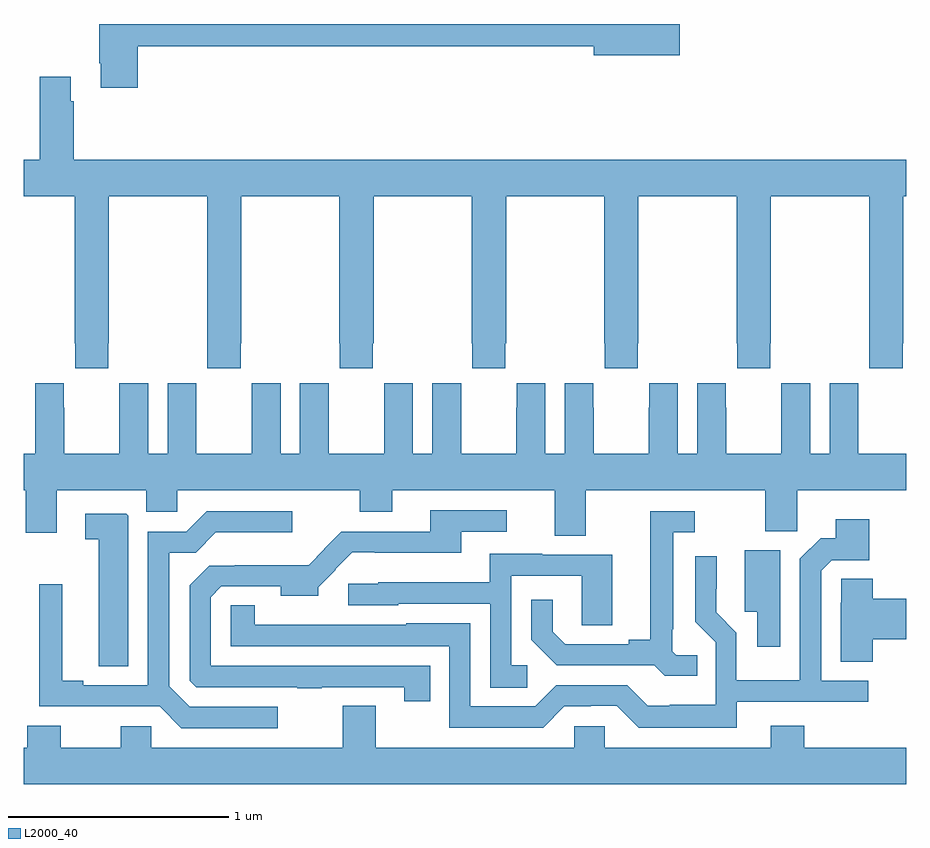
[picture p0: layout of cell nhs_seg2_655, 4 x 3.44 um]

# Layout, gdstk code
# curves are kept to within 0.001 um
import gdstk
lib = gdstk.Library(unit=1e-6, precision=1e-09)
def P(c, l, *ps):  # polygons
    for p in ps: c.add(gdstk.Polygon(p, *l))
L2000_40 = (2000, 40)

nhs_seg2_655 = lib.new_cell('nhs_seg2_655')
P(nhs_seg2_655, L2000_40, [(145.517,597.7),(147.584,597.7),(147.584,597.658),(147.973,597.658),(147.973,597.8),(145.342,597.8),(145.342,597.622),(145.349,597.622),(145.349,597.51),(145.517,597.51)],
  [(145.383,596.353),(145.386,596.353),(145.386,597.02),(145.831,597.02),(145.831,596.353),(145.833,596.353),(145.833,596.241),(145.983,596.241),(145.983,596.353),(145.986,596.353),(145.986,597.02),(146.431,597.02),(146.431,596.353),(146.433,596.353),(146.433,596.241),(146.583,596.241),(146.583,596.353),(146.586,596.353),(146.586,597.02),(147.031,597.02),(147.031,596.353),(147.033,596.353),(147.033,596.241),(147.183,596.241),(147.183,596.353),(147.186,596.353),(147.186,597.02),(147.631,597.02),(147.631,596.353),(147.633,596.353),(147.633,596.241),(147.783,596.241),(147.783,596.353),(147.786,596.353),(147.786,597.02),(148.231,597.02),(148.231,596.353),(148.233,596.353),(148.233,596.241),(148.383,596.241),(148.383,596.353),(148.386,596.353),(148.386,597.02),(148.831,597.02),(148.831,596.353),(148.833,596.353),(148.833,596.241),(148.983,596.241),(148.983,596.353),(148.986,596.353),(148.986,597.02),(149,597.02),(149,597.184),(145.226,597.184),(145.226,597.449),(145.213,597.449),(145.213,597.562),(145.073,597.562),(145.073,597.184),(145,597.184),(145,597.02),(145.231,597.02),(145.231,596.353),(145.233,596.353),(145.233,596.241),(145.383,596.241)],
  [(147.547,595.688),(148.36,595.688),(148.36,595.501),(148.506,595.501),(148.506,595.688),(149,595.688),(149,595.852),(148.783,595.852),(148.783,596.06),(148.782,596.06),(148.782,596.173),(148.652,596.173),(148.652,595.852),(148.564,595.852),(148.564,596.173),(148.434,596.173),(148.434,596.06),(148.433,596.06),(148.433,595.852),(148.183,595.852),(148.183,596.06),(148.182,596.06),(148.182,596.173),(148.052,596.173),(148.052,595.852),(147.964,595.852),(147.964,596.173),(147.834,596.173),(147.834,596.06),(147.833,596.06),(147.833,595.852),(147.583,595.852),(147.583,596.06),(147.582,596.06),(147.582,596.173),(147.452,596.173),(147.452,595.852),(147.364,595.852),(147.364,596.173),(147.234,596.173),(147.234,596.06),(147.233,596.06),(147.233,595.852),(146.983,595.852),(146.983,596.06),(146.982,596.06),(146.982,596.173),(146.852,596.173),(146.852,595.852),(146.764,595.852),(146.764,596.173),(146.634,596.173),(146.634,596.06),(146.633,596.06),(146.633,595.852),(146.383,595.852),(146.383,596.06),(146.382,596.06),(146.382,596.173),(146.252,596.173),(146.252,595.852),(146.164,595.852),(146.164,596.173),(146.034,596.173),(146.034,596.06),(146.033,596.06),(146.033,595.852),(145.783,595.852),(145.783,596.06),(145.782,596.06),(145.782,596.173),(145.652,596.173),(145.652,595.852),(145.564,595.852),(145.564,596.173),(145.434,596.173),(145.434,596.06),(145.433,596.06),(145.433,595.852),(145.183,595.852),(145.183,596.06),(145.182,596.06),(145.182,596.173),(145.052,596.173),(145.052,595.852),(145,595.852),(145,595.688),(145.01,595.688),(145.01,595.494),(145.15,595.494),(145.15,595.688),(145.556,595.688),(145.556,595.59),(145.695,595.59),(145.695,595.688),(146.524,595.688),(146.524,595.589),(146.671,595.589),(146.671,595.688),(147.407,595.688),(147.407,595.48),(147.547,595.48)],
  [(146.843,594.891),(145.848,594.891),(145.848,595.203),(145.896,595.251),(146.165,595.251),(146.165,595.208),(146.336,595.208),(146.336,595.248),(146.415,595.326),(146.412,595.329),(146.489,595.406),(146.59,595.406),(146.59,595.403),(146.983,595.403),(146.983,595.5),(147.19,595.5),(147.19,595.596),(146.843,595.596),(146.843,595.5),(146.439,595.5),(146.363,595.423),(146.365,595.421),(146.291,595.348),(145.957,595.348),(145.957,595.346),(145.841,595.346),(145.752,595.257),(145.752,594.825),(145.782,594.795),(146.239,594.795),(146.239,594.79),(146.351,594.79),(146.351,594.795),(146.725,594.795),(146.725,594.732),(146.843,594.732)],
  [(146.152,594.705),(145.752,594.705),(145.659,594.798),(145.659,595.405),(145.78,595.405),(145.871,595.496),(146.218,595.496),(146.218,595.593),(145.83,595.593),(145.737,595.5),(145.563,595.5),(145.563,594.804),(145.27,594.804),(145.27,594.824),(145.174,594.824),(145.174,595.261),(145.07,595.261),(145.07,594.708),(145.616,594.708),(145.715,594.609),(146.152,594.609)],
  [(148.052,594.939),(147.957,594.939),(147.939,594.957),(147.939,595.057),(147.943,595.057),(147.943,595.497),(148.042,595.497),(148.042,595.593),(147.839,595.593),(147.839,595.01),(147.743,595.01),(147.743,594.99),(147.454,594.99),(147.397,595.047),(147.397,595.192),(147.3,595.192),(147.3,595.01),(147.416,594.894),(147.858,594.894),(147.906,594.847),(148.052,594.847)],
  [(145.474,595.571),(145.464,595.581),(145.278,595.581),(145.278,595.465),(145.34,595.465),(145.34,594.889),(145.474,594.889)],
  [(148.231,594.729),(148.828,594.729),(148.828,594.825),(148.614,594.825),(148.614,595.323),(148.662,595.371),(148.832,595.371),(148.832,595.555),(148.679,595.555),(148.679,595.47),(148.611,595.47),(148.518,595.377),(148.518,594.826),(148.23,594.826),(148.23,595.042),(148.139,595.134),(148.14,595.387),(148.044,595.387),(148.044,595.092),(148.137,594.999),(148.137,594.715),(147.928,594.715),(147.928,594.711),(147.828,594.711),(147.735,594.804),(147.414,594.804),(147.318,594.708),(147.024,594.708),(147.024,595.084),(146.733,595.084),(146.733,595.077),(146.047,595.078),(146.047,595.166),(145.938,595.166),(145.938,594.981),(146.928,594.981),(146.928,594.612),(147.354,594.612),(147.45,594.708),(147.57,594.708),(147.57,594.711),(147.687,594.711),(147.787,594.611),(148.231,594.611)],
  [(148.429,595.416),(148.268,595.416),(148.268,595.137),(148.325,595.137),(148.325,594.978),(148.429,594.978)],
  [(147.283,594.894),(147.21,594.894),(147.21,595.299),(147.528,595.299),(147.528,595.075),(147.667,595.075),(147.667,595.395),(147.349,595.395),(147.349,595.399),(147.113,595.399),(147.113,595.27),(146.607,595.27),(146.607,595.263),(146.472,595.263),(146.472,595.167),(146.697,595.167),(146.697,595.173),(147.114,595.173),(147.114,594.793),(147.283,594.793)],
  [(148.847,595.013),(149,595.013),(149,595.196),(148.847,595.196),(148.847,595.286),(148.704,595.286),(148.704,595.178),(148.703,595.178),(148.703,594.91),(148.847,594.91)],
  [(149,594.52),(148.538,594.52),(148.538,594.619),(148.385,594.619),(148.385,594.52),(147.633,594.52),(147.633,594.618),(147.495,594.618),(147.495,594.52),(146.595,594.52),(146.595,594.71),(146.447,594.71),(146.447,594.52),(145.578,594.52),(145.578,594.618),(145.439,594.618),(145.439,594.52),(145.168,594.52),(145.168,594.619),(145.016,594.619),(145.016,594.52),(145,594.52),(145,594.356),(149,594.356)])

lib.write_gds('nhs_seg2_655.gds')
